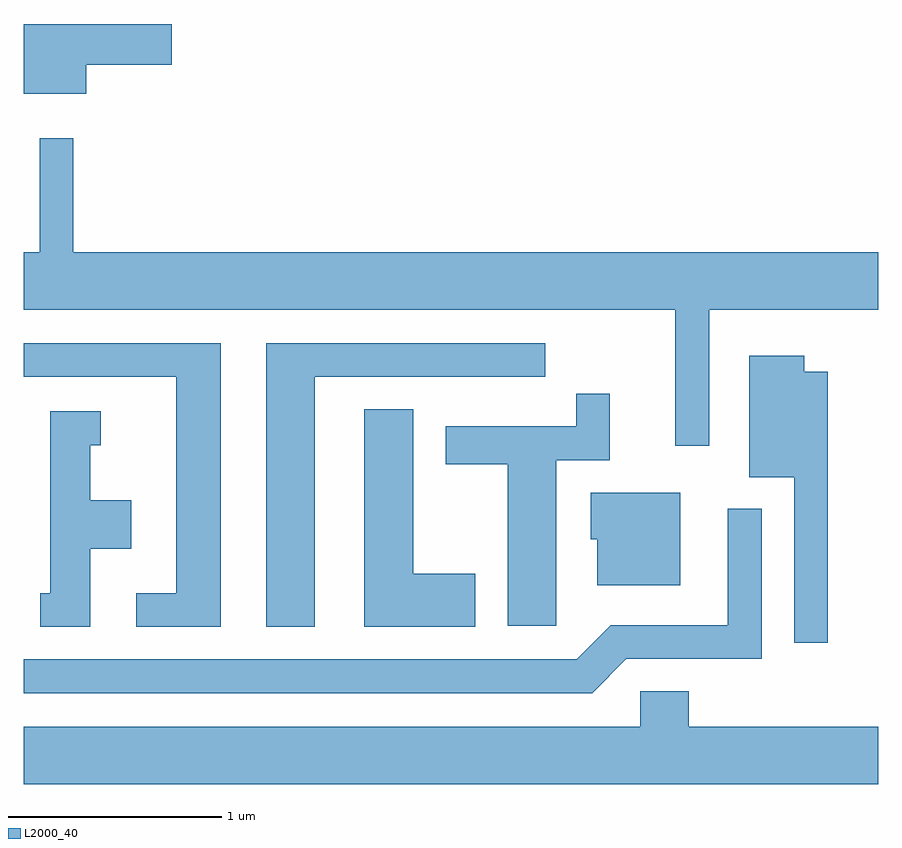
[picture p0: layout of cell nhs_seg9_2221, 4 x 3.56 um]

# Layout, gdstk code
import gdstk
lib = gdstk.Library(unit=1e-6, precision=1e-09)
def P(c, l, *ps):  # polygons
    for p in ps: c.add(gdstk.Polygon(p, *l))
L2000_40 = (2000, 40)

nhs_seg9_2221 = lib.new_cell('nhs_seg9_2221')
P(nhs_seg9_2221, L2000_40, [(249.904,2046.241),(250.304,2046.241),(250.304,2046.432),(249.611,2046.432),(249.611,2046.106),(249.904,2046.106)],
  [(252.819,2045.096),(253.611,2045.096),(253.611,2045.364),(249.844,2045.364),(249.844,2045.898),(249.686,2045.898),(249.686,2045.364),(249.611,2045.364),(249.611,2045.096),(252.661,2045.096),(252.661,2044.458),(252.819,2044.458)],
  [(250.974,2044.781),(252.053,2044.781),(252.053,2044.939),(250.746,2044.939),(250.746,2043.611),(250.974,2043.611)],
  [(250.534,2044.939),(249.611,2044.939),(249.611,2044.781),(250.326,2044.781),(250.326,2043.769),(250.138,2043.769),(250.138,2043.611),(250.534,2043.611)],
  [(253.374,2044.804),(253.264,2044.804),(253.264,2044.879),(253.006,2044.879),(253.006,2044.311),(253.216,2044.311),(253.216,2043.538),(253.374,2043.538)],
  [(252.104,2044.391),(252.354,2044.391),(252.354,2044.703),(252.196,2044.703),(252.196,2044.549),(251.586,2044.549),(251.586,2044.371),(251.876,2044.371),(251.876,2043.616),(252.104,2043.616)],
  [(251.724,2043.859),(251.434,2043.859),(251.434,2044.629),(251.206,2044.629),(251.206,2043.611),(251.724,2043.611)],
  [(249.924,2043.976),(250.114,2043.976),(250.114,2044.204),(249.924,2044.204),(249.924,2044.461),(249.973,2044.461),(249.973,2044.619),(249.736,2044.619),(249.736,2043.769),(249.688,2043.769),(249.688,2043.611),(249.924,2043.611)],
  [(252.684,2044.239),(252.266,2044.239),(252.266,2044.021),(252.296,2044.021),(252.296,2043.806),(252.684,2043.806)],
  [(252.432,2043.461),(253.064,2043.461),(253.064,2044.163),(252.906,2044.163),(252.906,2043.619),(252.359,2043.619),(252.199,2043.459),(249.611,2043.459),(249.611,2043.301),(252.272,2043.301)],
  [(253.611,2043.144),(252.724,2043.144),(252.724,2043.309),(252.496,2043.309),(252.496,2043.144),(249.611,2043.144),(249.611,2042.876),(253.611,2042.876)])

lib.write_gds('nhs_seg9_2221.gds')
